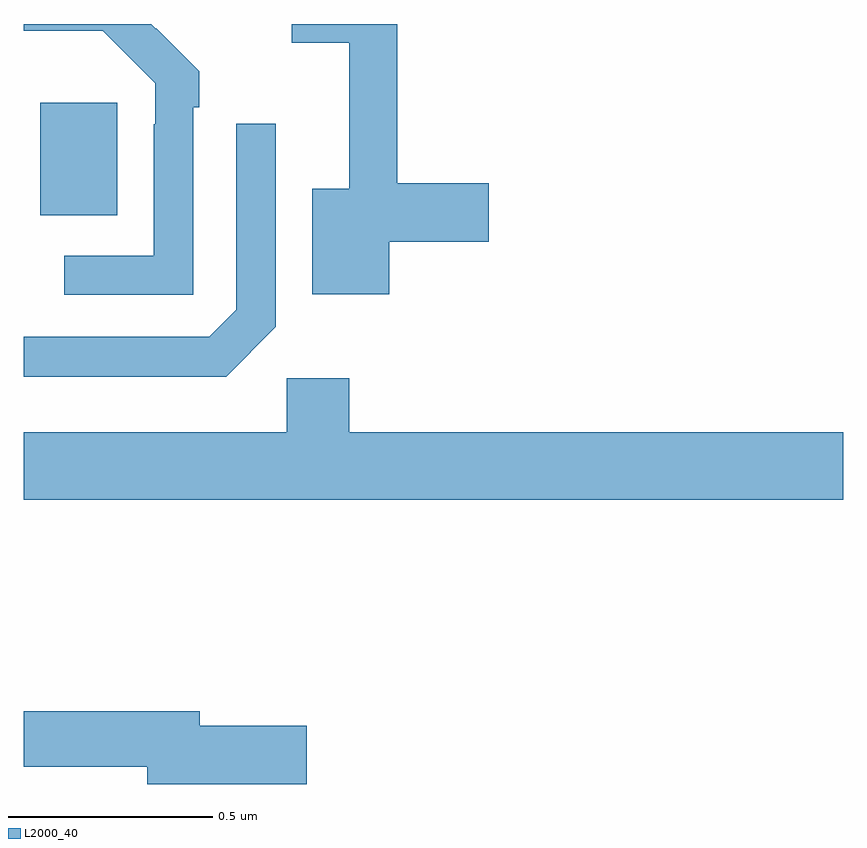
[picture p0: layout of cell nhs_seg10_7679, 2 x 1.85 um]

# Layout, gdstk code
import gdstk
lib = gdstk.Library(unit=1e-6, precision=1e-09)
def R(c, l, rs):  # rectangles x0, y0, x1, y1
    for r in rs: c.add(gdstk.rectangle(r[:2], r[2:], *l))
def P(c, l, *ps):  # polygons
    for p in ps: c.add(gdstk.Polygon(p, *l))
L2000_40 = (2000, 40)

nhs_seg10_7679 = lib.new_cell('nhs_seg10_7679')
R(nhs_seg10_7679, L2000_40, [(207.041,1277.033,207.229,1277.308)])
P(nhs_seg10_7679, L2000_40, [(207.892,1276.969),(208.135,1276.969),(208.135,1277.111),(207.911,1277.111),(207.911,1277.5),(207.654,1277.5),(207.654,1277.454),(207.794,1277.454),(207.794,1277.098),(207.704,1277.098),(207.704,1276.841),(207.892,1276.841)],
  [(207.414,1277.297),(207.429,1277.297),(207.429,1277.385),(207.324,1277.49),(207.323,1277.489),(207.312,1277.5),(207,1277.5),(207,1277.484),(207.193,1277.484),(207.321,1277.355),(207.321,1277.255),(207.318,1277.255),(207.318,1276.935),(207.099,1276.935),(207.099,1276.839),(207.414,1276.839)],
  [(207.615,1276.761),(207.615,1277.257),(207.519,1277.257),(207.519,1276.803),(207.453,1276.737),(207,1276.737),(207,1276.64),(207.494,1276.64)],
  [(209,1276.504),(207.794,1276.504),(207.794,1276.636),(207.642,1276.636),(207.642,1276.504),(207,1276.504),(207,1276.34),(209,1276.34)],
  [(207.691,1275.788),(207.43,1275.788),(207.43,1275.824),(207,1275.824),(207,1275.688),(207.302,1275.688),(207.302,1275.646),(207.691,1275.646)])

lib.write_gds('nhs_seg10_7679.gds')
